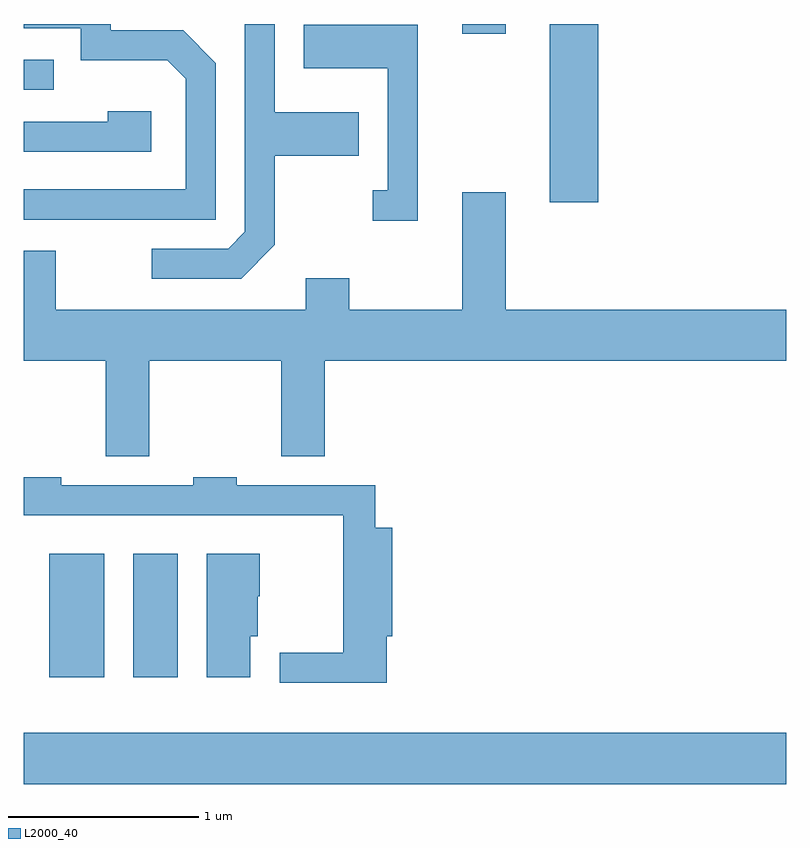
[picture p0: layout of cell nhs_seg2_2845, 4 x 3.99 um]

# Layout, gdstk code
import gdstk
lib = gdstk.Library(unit=1e-6, precision=1e-09)
def R(c, l, rs):  # rectangles x0, y0, x1, y1
    for r in rs: c.add(gdstk.rectangle(r[:2], r[2:], *l))
def P(c, l, *ps):  # polygons
    for p in ps: c.add(gdstk.Polygon(p, *l))
L2000_40 = (2000, 40)

nhs_seg2_2845 = lib.new_cell('nhs_seg2_2845')
R(nhs_seg2_2845, L2000_40, [(267.611,1103.816,271.611,1104.084), (267.746,1104.376,268.034,1105.024), (268.186,1104.376,268.419,1105.024), (270.371,1106.866,270.624,1107.802), (267.611,1107.456,267.768,1107.614), (269.911,1107.751,270.139,1107.802)])
P(nhs_seg2_2845, L2000_40, [(268.929,1106.644),(268.929,1107.111),(269.369,1107.111),(269.369,1107.339),(268.929,1107.339),(268.929,1107.802),(268.771,1107.802),(268.771,1106.712),(268.684,1106.624),(268.283,1106.624),(268.283,1106.466),(268.752,1106.466)],
  [(268.619,1107.597),(268.447,1107.769),(268.069,1107.769),(268.069,1107.802),(267.611,1107.802),(267.611,1107.781),(267.911,1107.781),(267.911,1107.611),(268.364,1107.611),(268.461,1107.514),(268.461,1106.934),(267.611,1106.934),(267.611,1106.776),(268.619,1106.776)],
  [(269.679,1107.799),(269.081,1107.799),(269.081,1107.571),(269.521,1107.571),(269.521,1106.929),(269.443,1106.929),(269.443,1106.771),(269.679,1106.771)],
  [(268.279,1107.344),(268.051,1107.344),(268.051,1107.289),(267.611,1107.289),(267.611,1107.131),(268.279,1107.131)],
  [(268.269,1106.036),(268.961,1106.036),(268.961,1105.536),(269.189,1105.536),(269.189,1106.036),(271.611,1106.036),(271.611,1106.304),(270.139,1106.304),(270.139,1106.919),(269.911,1106.919),(269.911,1106.304),(269.319,1106.304),(269.319,1106.469),(269.091,1106.469),(269.091,1106.304),(267.779,1106.304),(267.779,1106.614),(267.611,1106.614),(267.611,1106.036),(268.041,1106.036),(268.041,1105.536),(268.269,1105.536)],
  [(269.514,1104.591),(269.544,1104.591),(269.544,1105.159),(269.454,1105.159),(269.454,1105.384),(268.729,1105.384),(268.729,1105.424),(268.501,1105.424),(268.501,1105.384),(267.809,1105.384),(267.809,1105.424),(267.611,1105.424),(267.611,1105.226),(269.286,1105.226),(269.286,1104.504),(268.953,1104.504),(268.953,1104.346),(269.514,1104.346)],
  [(268.799,1104.591),(268.839,1104.591),(268.839,1104.8),(268.849,1104.8),(268.849,1105.024),(268.571,1105.024),(268.571,1104.376),(268.799,1104.376)])

lib.write_gds('nhs_seg2_2845.gds')
